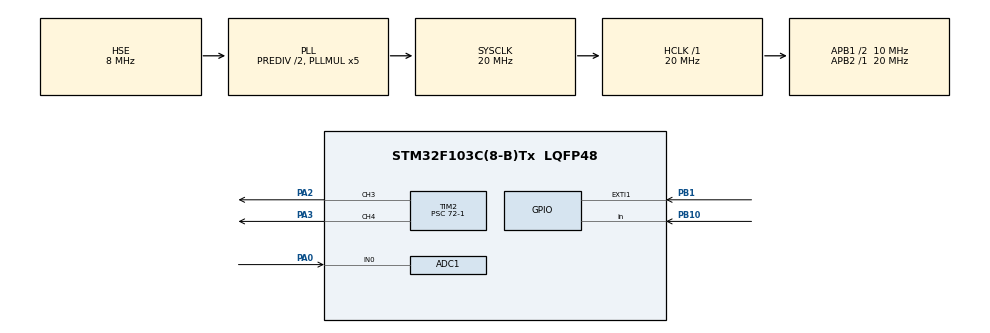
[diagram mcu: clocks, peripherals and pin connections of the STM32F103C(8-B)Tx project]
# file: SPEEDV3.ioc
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ADC1.Channel-2\#ChannelRegularConversion=ADC_CHANNEL_0
ADC1.ContinuousConvMode=ENABLE
ADC1.NbrOfConversionFlag=1
ADC1.Rank-2\#ChannelRegularConversion=1
ADC1.SamplingTime-2\#ChannelRegularConversion=ADC_SAMPLETIME_239CYCLES_5
ADC1.master=1
Dma.ADC1.0.Direction=DMA_PERIPH_TO_MEMORY
Dma.ADC1.0.Instance=DMA1_Channel1
Dma.ADC1.0.MemDataAlignment=DMA_MDATAALIGN_WORD
Dma.ADC1.0.MemInc=DMA_MINC_ENABLE
Dma.ADC1.0.Mode=DMA_CIRCULAR
Dma.ADC1.0.PeriphDataAlignment=DMA_PDATAALIGN_HALFWORD
Dma.ADC1.0.PeriphInc=DMA_PINC_DISABLE
Dma.ADC1.0.Priority=DMA_PRIORITY_LOW
Dma.Request0=ADC1
FREERTOS.Tasks01=defaultTask,24,128,speed_control,Default,NULL,Dynamic,NULL,NULL;myTask02,25,128,Current_read,Default,NULL,Dynamic,NULL,NULL
Mcu.Family=STM32F1
Mcu.Name=STM32F103C(8-B)Tx
Mcu.Package=LQFP48
NVIC.DMA1_Channel1_IRQn=true\:5\:0\:false\:false\:true\:true\:false\:true\:true
NVIC.EXTI1_IRQn=true\:5\:0\:false\:false\:true\:true\:true\:true\:true
NVIC.PriorityGroup=NVIC_PRIORITYGROUP_4
NVIC.TIM3_IRQn=true\:5\:0\:false\:false\:true\:true\:true\:true\:true
NVIC.TIM4_IRQn=true\:15\:0\:false\:false\:true\:false\:false\:true\:true
NVIC.TimeBase=TIM4_IRQn
NVIC.TimeBaseIP=TIM4
PA0-WKUP.Signal=ADCx_IN0
PA13.Mode=Serial_Wire
PA13.Signal=SYS_JTMS-SWDIO
PA14.Mode=Serial_Wire
PA14.Signal=SYS_JTCK-SWCLK
PA2.Signal=S_TIM2_CH3
PA3.Signal=S_TIM2_CH4
PB1.GPIO_PuPd=GPIO_PULLUP
PB1.Signal=GPXTI1
PB10.GPIO_PuPd=GPIO_PULLUP
PB10.Signal=GPIO_Input
PD0-OSC_IN.Mode=HSE-External-Oscillator
PD0-OSC_IN.Signal=RCC_OSC_IN
PD1-OSC_OUT.Mode=HSE-External-Oscillator
PD1-OSC_OUT.Signal=RCC_OSC_OUT
ProjectManager.HeapSize=0x200
ProjectManager.StackSize=0x400
ProjectManager.TargetToolchain=STM32CubeIDE
RCC.AHBFreq_Value=20000000
RCC.APB1CLKDivider=RCC_HCLK_DIV2
RCC.APB1Freq_Value=10000000
RCC.APB1TimFreq_Value=20000000
RCC.APB2Freq_Value=20000000
RCC.APB2TimFreq_Value=20000000
RCC.HCLKFreq_Value=20000000
RCC.HSEDivPLL=RCC_HSE_PREDIV_DIV2
RCC.PLLMUL=RCC_PLL_MUL5
RCC.PLLSourceVirtual=RCC_PLLSOURCE_HSE
RCC.SYSCLKFreq_VALUE=20000000
RCC.SYSCLKSource=RCC_SYSCLKSOURCE_PLLCLK
RCC.USBFreq_Value=20000000
SH.ADCx_IN0.0=ADC1_IN0,IN0
SH.S_TIM2_CH3.0=TIM2_CH3,PWM Generation3 CH3
SH.S_TIM2_CH4.0=TIM2_CH4,PWM Generation4 CH4
TIM2.Channel-PWM\ Generation3\ CH3=TIM_CHANNEL_3
TIM2.Channel-PWM\ Generation4\ CH4=TIM_CHANNEL_4
TIM2.Period=100-1
TIM2.Prescaler=72-1
TIM3.Period=1000-1
TIM3.Prescaler=72-1
VP_FREERTOS_VS_CMSIS_V2.Mode=CMSIS_V2
VP_SYS_VS_tim4.Mode=TIM4
VP_TIM2_VS_ClockSourceINT.Mode=Internal
VP_TIM3_VS_ClockSourceINT.Mode=Internal
board=custom

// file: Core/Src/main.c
/* USER CODE BEGIN Header */
/**
  ******************************************************************************
  * @file           : main.c
  * @brief          : Main program body
  ******************************************************************************
  * @attention
  *
  * Copyright (c) 2023 STMicroelectronics.
  * All rights reserved.
  *
  * This software is licensed under terms that can be found in the LICENSE file
  * in the root directory of this software component.
  * If no LICENSE file comes with this software, it is provided AS-IS.
  *
  ******************************************************************************
  */
/* USER CODE END Header */
#include "main.h"
#include "cmsis_os.h"

/* USER CODE BEGIN Includes */
#include <stdlib.h>
volatile int  count;
long counter;
long pos ;
float N = 13;
long precount;
float veloc;
float v1;
float v1Filt;
float v1Prev;
int vt = -1000;
float e ;
float eI;
int u;
float kp = 1;
float ki = 0.005;
int dir;
int pwr;

uint16_t a[3];
int emergence = 0;

#define VCC 5
uint32_t adc_value[1];
double ampere = 0;
double quisecent = 0;
double voltage_read = 0;
double adc_read = 0;

uint16_t readValue;
float sensitivity = 0.066; // 0.1 for 20A Model
float rawVoltage;
float current;
/* USER CODE END Includes */

ADC_HandleTypeDef hadc1;
DMA_HandleTypeDef hdma_adc1;

TIM_HandleTypeDef htim2;
TIM_HandleTypeDef htim3;

/* Definitions for defaultTask */
osThreadId_t defaultTaskHandle;
const osThreadAttr_t defaultTask_attributes = {
  .name = "defaultTask",
  .stack_size = 128 * 4,
  .priority = (osPriority_t) osPriorityNormal,
};
/* Definitions for myTask02 */
osThreadId_t myTask02Handle;
const osThreadAttr_t myTask02_attributes = {
  .name = "myTask02",
  .stack_size = 128 * 4,
  .priority = (osPriority_t) osPriorityNormal1,
};

void SystemClock_Config(void);
static void MX_GPIO_Init(void);
static void MX_DMA_Init(void);
static void MX_TIM2_Init(void);
static void MX_TIM3_Init(void);
static void MX_ADC1_Init(void);
void speed_control(void *argument);
void Current_read(void *argument);

/* USER CODE BEGIN 0 */
void HAL_GPIO_EXTI_Callback(uint16_t GPIO_Pin)
{
	if (GPIO_Pin == GPIO_PIN_1){
		if (HAL_GPIO_ReadPin(GPIOB,GPIO_PIN_10) == 0) count++;
		else count--;
	}
	//if (count > 100 || count < -100) count = 0;
}

void calculateSpeedPID ()
{
	e = vt - v1Filt;
	eI += e * 0.002;
//	if (eI>80000){
//			eI = 80000;
//		}
//	else if(eI<-80000){
//		eI = -80000;
//	}
	u = kp * e + ki * eI;

	if(u < 0) dir = 1;
	else dir = -1;
	pwr = abs(u);
	if(pwr > 100) pwr = 100;
}
void ControlMotor(int ChannelA, int ChannelB){
	__HAL_TIM_SET_COMPARE(&htim2, TIM_CHANNEL_3, 100-ChannelA);
	__HAL_TIM_SET_COMPARE(&htim2, TIM_CHANNEL_4, 100-ChannelB);
}

void setMotor(int dir , int pwmVal){
//	pwmVal = 100-pwmVal;
	if (dir == 1){
		  __HAL_TIM_SET_COMPARE(&htim2, TIM_CHANNEL_3, pwmVal);
		  __HAL_TIM_SET_COMPARE(&htim2, TIM_CHANNEL_4, 0);
		//ControlMotor(pwmVal,0);
	  }
	else if (dir == -1){
		  __HAL_TIM_SET_COMPARE(&htim2, TIM_CHANNEL_3, 0);
		  __HAL_TIM_SET_COMPARE(&htim2, TIM_CHANNEL_4, pwmVal);
		//ControlMotor(0,pwmVal);
	  }
	  else{
		  __HAL_TIM_SET_COMPARE(&htim2, TIM_CHANNEL_3, 0);
		  __HAL_TIM_SET_COMPARE(&htim2, TIM_CHANNEL_4, 0);
		  //ControlMotor(0,0);
	  }
}
/* USER CODE END 0 */

int main(void)
{

  /* MCU Configuration--------------------------------------------------------*/

  /* Reset of all peripherals, Initializes the Flash interface and the Systick. */
  HAL_Init();

  /* Configure the system clock */
  SystemClock_Config();

  /* Initialize all configured peripherals */
  MX_GPIO_Init();
  MX_DMA_Init();
  MX_TIM2_Init();
  MX_TIM3_Init();
  MX_ADC1_Init();
  /* USER CODE BEGIN 2 */
  HAL_TIM_PWM_Start(&htim2,TIM_CHANNEL_3);
  HAL_TIM_PWM_Start(&htim2,TIM_CHANNEL_4);
  HAL_TIM_Base_Start_IT(&htim3);
//  HAL_ADC_Start_DMA(&hadc1, adc_value, 10);
  quisecent = 2.5;
  HAL_ADC_Start(&hadc1);

  /* USER CODE END 2 */

  /* Init scheduler */
  osKernelInitialize();

  /* Create the thread(s) */
  /* creation of defaultTask */
  defaultTaskHandle = osThreadNew(speed_control, NULL, &defaultTask_attributes);

  /* creation of myTask02 */
  myTask02Handle = osThreadNew(Current_read, NULL, &myTask02_attributes);

  /* Start scheduler */
  osKernelStart();

  /* We should never get here as control is now taken by the scheduler */
  /* Infinite loop */
  /* USER CODE BEGIN WHILE */
  while (1)
  {

//	  HAL_Delay(500);
    /* USER CODE END WHILE */

  }
}

void SystemClock_Config(void)
{
  RCC_OscInitTypeDef RCC_OscInitStruct = {0};
  RCC_ClkInitTypeDef RCC_ClkInitStruct = {0};
  RCC_PeriphCLKInitTypeDef PeriphClkInit = {0};

  /** Initializes the RCC Oscillators according to the specified parameters
  * in the RCC_OscInitTypeDef structure.
  */
  RCC_OscInitStruct.OscillatorType = RCC_OSCILLATORTYPE_HSE;
  RCC_OscInitStruct.HSEState = RCC_HSE_ON;
  RCC_OscInitStruct.HSEPredivValue = RCC_HSE_PREDIV_DIV2;
  RCC_OscInitStruct.HSIState = RCC_HSI_ON;
  RCC_OscInitStruct.PLL.PLLState = RCC_PLL_ON;
  RCC_OscInitStruct.PLL.PLLSource = RCC_PLLSOURCE_HSE;
  RCC_OscInitStruct.PLL.PLLMUL = RCC_PLL_MUL5;
  if (HAL_RCC_OscConfig(&RCC_OscInitStruct) != HAL_OK)
  {
    Error_Handler();
  }

  /** Initializes the CPU, AHB and APB buses clocks
  */
  RCC_ClkInitStruct.ClockType = RCC_CLOCKTYPE_HCLK|RCC_CLOCKTYPE_SYSCLK
                              |RCC_CLOCKTYPE_PCLK1|RCC_CLOCKTYPE_PCLK2;
  RCC_ClkInitStruct.SYSCLKSource = RCC_SYSCLKSOURCE_PLLCLK;
  RCC_ClkInitStruct.AHBCLKDivider = RCC_SYSCLK_DIV1;
  RCC_ClkInitStruct.APB1CLKDivider = RCC_HCLK_DIV2;
  RCC_ClkInitStruct.APB2CLKDivider = RCC_HCLK_DIV1;

  if (HAL_RCC_ClockConfig(&RCC_ClkInitStruct, FLASH_LATENCY_0) != HAL_OK)
  {
    Error_Handler();
  }
  PeriphClkInit.PeriphClockSelection = RCC_PERIPHCLK_ADC;
  PeriphClkInit.AdcClockSelection = RCC_ADCPCLK2_DIV2;
  if (HAL_RCCEx_PeriphCLKConfig(&PeriphClkInit) != HAL_OK)
  {
    Error_Handler();
  }
}

static void MX_ADC1_Init(void)
{

  ADC_ChannelConfTypeDef sConfig = {0};

  /** Common config
  */
  hadc1.Instance = ADC1;
  hadc1.Init.ScanConvMode = ADC_SCAN_DISABLE;
  hadc1.Init.ContinuousConvMode = ENABLE;
  hadc1.Init.DiscontinuousConvMode = DISABLE;
  hadc1.Init.ExternalTrigConv = ADC_SOFTWARE_START;
  hadc1.Init.DataAlign = ADC_DATAALIGN_RIGHT;
  hadc1.Init.NbrOfConversion = 1;
  if (HAL_ADC_Init(&hadc1) != HAL_OK)
  {
    Error_Handler();
  }

  /** Configure Regular Channel
  */
  sConfig.Channel = ADC_CHANNEL_0;
  sConfig.Rank = ADC_REGULAR_RANK_1;
  sConfig.SamplingTime = ADC_SAMPLETIME_239CYCLES_5;
  if (HAL_ADC_ConfigChannel(&hadc1, &sConfig) != HAL_OK)
  {
    Error_Handler();
  }

}

static void MX_TIM2_Init(void)
{

  TIM_ClockConfigTypeDef sClockSourceConfig = {0};
  TIM_MasterConfigTypeDef sMasterConfig = {0};
  TIM_OC_InitTypeDef sConfigOC = {0};

  htim2.Instance = TIM2;
  htim2.Init.Prescaler = 72-1;
  htim2.Init.CounterMode = TIM_COUNTERMODE_UP;
  htim2.Init.Period = 100-1;
  htim2.Init.ClockDivision = TIM_CLOCKDIVISION_DIV1;
  htim2.Init.AutoReloadPreload = TIM_AUTORELOAD_PRELOAD_DISABLE;
  if (HAL_TIM_Base_Init(&htim2) != HAL_OK)
  {
    Error_Handler();
  }
  sClockSourceConfig.ClockSource = TIM_CLOCKSOURCE_INTERNAL;
  if (HAL_TIM_ConfigClockSource(&htim2, &sClockSourceConfig) != HAL_OK)
  {
    Error_Handler();
  }
  if (HAL_TIM_PWM_Init(&htim2) != HAL_OK)
  {
    Error_Handler();
  }
  sMasterConfig.MasterOutputTrigger = TIM_TRGO_RESET;
  sMasterConfig.MasterSlaveMode = TIM_MASTERSLAVEMODE_DISABLE;
  if (HAL_TIMEx_MasterConfigSynchronization(&htim2, &sMasterConfig) != HAL_OK)
  {
    Error_Handler();
  }
  sConfigOC.OCMode = TIM_OCMODE_PWM1;
  sConfigOC.Pulse = 0;
  sConfigOC.OCPolarity = TIM_OCPOLARITY_HIGH;
  sConfigOC.OCFastMode = TIM_OCFAST_DISABLE;
  if (HAL_TIM_PWM_ConfigChannel(&htim2, &sConfigOC, TIM_CHANNEL_3) != HAL_OK)
  {
    Error_Handler();
  }
  if (HAL_TIM_PWM_ConfigChannel(&htim2, &sConfigOC, TIM_CHANNEL_4) != HAL_OK)
  {
    Error_Handler();
  }
  HAL_TIM_MspPostInit(&htim2);

}

static void MX_TIM3_Init(void)
{

  TIM_ClockConfigTypeDef sClockSourceConfig = {0};
  TIM_MasterConfigTypeDef sMasterConfig = {0};

  htim3.Instance = TIM3;
  htim3.Init.Prescaler = 72-1;
  htim3.Init.CounterMode = TIM_COUNTERMODE_UP;
  htim3.Init.Period = 2000-1;
  htim3.Init.ClockDivision = TIM_CLOCKDIVISION_DIV1;
  htim3.Init.AutoReloadPreload = TIM_AUTORELOAD_PRELOAD_DISABLE;
  if (HAL_TIM_Base_Init(&htim3) != HAL_OK)
  {
    Error_Handler();
  }
  sClockSourceConfig.ClockSource = TIM_CLOCKSOURCE_INTERNAL;
  if (HAL_TIM_ConfigClockSource(&htim3, &sClockSourceConfig) != HAL_OK)
  {
    Error_Handler();
  }
  sMasterConfig.MasterOutputTrigger = TIM_TRGO_RESET;
  sMasterConfig.MasterSlaveMode = TIM_MASTERSLAVEMODE_DISABLE;
  if (HAL_TIMEx_MasterConfigSynchronization(&htim3, &sMasterConfig) != HAL_OK)
  {
    Error_Handler();
  }

}

static void MX_DMA_Init(void)
{

  /* DMA controller clock enable */
  __HAL_RCC_DMA1_CLK_ENABLE();

  /* DMA interrupt init */
  /* DMA1_Channel1_IRQn interrupt configuration */
  HAL_NVIC_SetPriority(DMA1_Channel1_IRQn, 5, 0);
  HAL_NVIC_EnableIRQ(DMA1_Channel1_IRQn);

}

static void MX_GPIO_Init(void)
{
  GPIO_InitTypeDef GPIO_InitStruct = {0};

  /* GPIO Ports Clock Enable */
  __HAL_RCC_GPIOD_CLK_ENABLE();
  __HAL_RCC_GPIOA_CLK_ENABLE();
  __HAL_RCC_GPIOB_CLK_ENABLE();

  /*Configure GPIO pin : PB1 */
  GPIO_InitStruct.Pin = GPIO_PIN_1;
  GPIO_InitStruct.Mode = GPIO_MODE_IT_RISING;
  GPIO_InitStruct.Pull = GPIO_PULLUP;
  HAL_GPIO_Init(GPIOB, &GPIO_InitStruct);

  /*Configure GPIO pin : PB10 */
  GPIO_InitStruct.Pin = GPIO_PIN_10;
  GPIO_InitStruct.Mode = GPIO_MODE_INPUT;
  GPIO_InitStruct.Pull = GPIO_PULLUP;
  HAL_GPIO_Init(GPIOB, &GPIO_InitStruct);

  /* EXTI interrupt init*/
  HAL_NVIC_SetPriority(EXTI1_IRQn, 5, 0);
  HAL_NVIC_EnableIRQ(EXTI1_IRQn);

}

void speed_control(void *argument)
{
  /* USER CODE BEGIN 5 */
  /* Infinite loop */
  for(;;)
  {

	 	  if (emergence == 0){
	 		  calculateSpeedPID();
	 		  setMotor(1, 10);
	 	  }
	 	  else{setMotor(1, 0);}

  }
  /* USER CODE END 5 */
}

/* USER CODE BEGIN Header_Current_read */
int anti_noise;

int intial_current;
/**
* @brief Function implementing the myTask02 thread.
* @param argument: Not used
* @retval None
*/
/* USER CODE END Header_Current_read */
void Current_read(void *argument)
{
  /* USER CODE BEGIN Current_read */
  /* Infinite loop */
  for(;;)
  {
//	  osDelay(100);
//	  HAL_ADC_PollForConversion(&hadc1,1000);
//	  readValue = HAL_ADC_GetValue(&hadc1);
//	  rawVoltage = (float) readValue * 3.3 * 2 / 4095;
//	 //rawVoltage = 2.5 - rawVoltage;
//	 // If rawVoltage is not 2.5Volt, multiply by a factor.In my case it is 1.035
//	 // This is due to tolerance in voltage divider resister & ADC accuracy
//	  current =-(((rawVoltage*1.0869 - 2.5)/sensitivity)-1.2);
//
//	  if (current>6){
//		  ++anti_noise;
////		  emergence = 1;
//	  }
//	  else anti_noise = 0;
//	  if(anti_noise > 2){
//		  emergence = 1;
//		  intial_current = current;
	  osDelay(1);
	  }

  }
  /* USER CODE END Current_read */

void HAL_TIM_PeriodElapsedCallback(TIM_HandleTypeDef *htim)
{
  if (htim->Instance == TIM4) {
    HAL_IncTick();
  }
  /* USER CODE BEGIN Callback 1 */

  if (htim->Instance == TIM3) {
    HAL_IncTick();
    counter = count;
      	pos = counter - precount;
      //	if (dir == -1 && pos < -50) pos += N;
      //	if (dir == 1 && pos > 50) pos -= N;
      	veloc = pos / 0.002;
      	v1 = (veloc / (100)) * 60;
      	v1Filt = 0.854 * v1Filt + 0.0728 * v1 + 0.0728 * v1Prev;
      	v1Prev = v1;
      	precount = counter;
  }

  /* USER CODE END Callback 1 */
}

void Error_Handler(void)
{
  __disable_irq();
  while (1)
  {
  }
}
